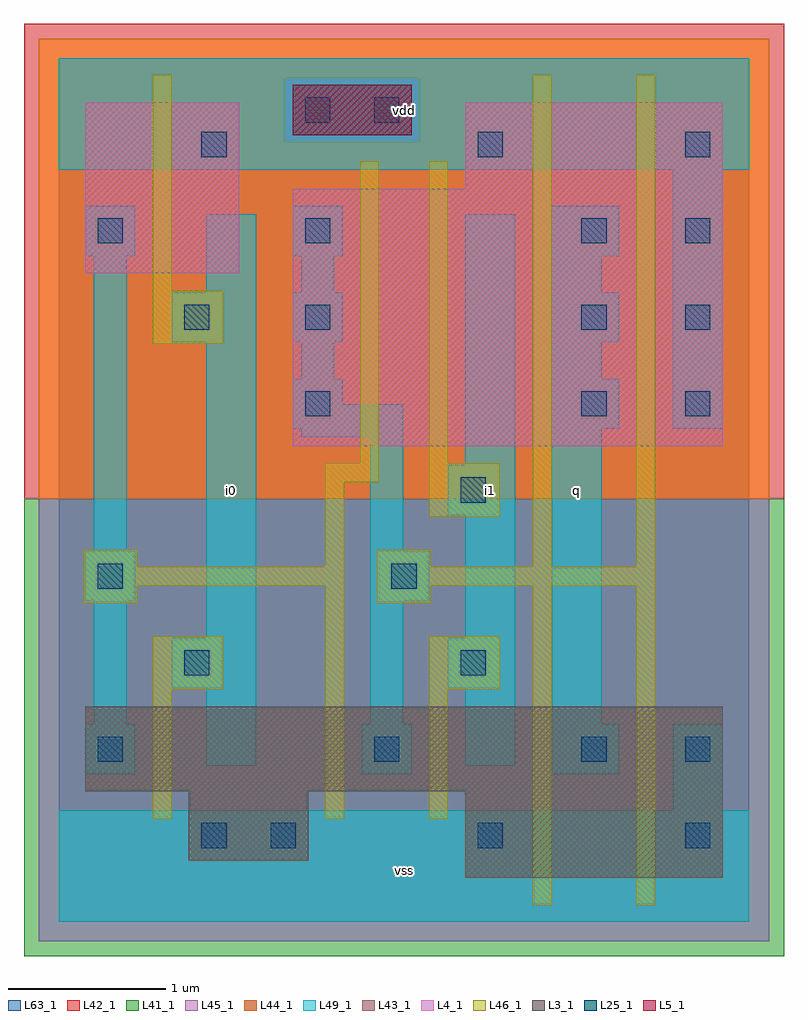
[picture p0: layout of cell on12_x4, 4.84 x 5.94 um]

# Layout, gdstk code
import gdstk
lib = gdstk.Library(unit=1e-6, precision=1e-09)
def R(c, l, rs):  # rectangles x0, y0, x1, y1
    for r in rs: c.add(gdstk.rectangle(r[:2], r[2:], *l))
def A(c, l, x, y, w, h, nx, ny, dx, dy):  # array of equal rectangles
    R(c, l, [(x+i*dx, y+j*dy, x+i*dx+w, y+j*dy+h) for i in range(nx) for j in range(ny)])
L3_1 = (3, 1)
L4_1 = (4, 1)
L5_1 = (5, 1)
L25_1 = (25, 1)
L41_1 = (41, 1)
L42_1 = (42, 1)
L43_1 = (43, 1)
L44_1 = (44, 1)
L45_1 = (45, 1)
L46_1 = (46, 1)
L49_1 = (49, 1)
L63_1 = (63, 1)

on12_x4 = lib.new_cell('on12_x4')
R(on12_x4, L3_1, [(2.59,0.28,4.23,0.83), (0.83,0.39,1.59,0.83), (0.17,0.83,4.23,1.37)])
R(on12_x4, L4_1, [(1.49,3.03,4.23,4.67), (0.17,4.13,1.15,5.22), (2.59,4.67,4.23,5.22)])
R(on12_x4, L5_1, [(1.49,5.01,2.25,5.33)])
A(on12_x4, L25_1, 1.35, 0.47, 0.16, 0.16, 3, 1, 1.32, 0)
A(on12_x4, L25_1, 1.57, 3.22, 0.16, 0.16, 1, 3, 0, 0.55)
A(on12_x4, L25_1, 3.33, 3.22, 0.16, 0.16, 1, 3, 0, 0.55)
A(on12_x4, L25_1, 3.99, 3.22, 0.16, 0.16, 1, 4, 0, 0.55)
R(on12_x4, L25_1, [(0.91,0.47,1.07,0.63), (0.25,1.02,0.41,1.18), (2.01,1.02,2.17,1.18), (3.33,1.02,3.49,1.18), (3.99,1.02,4.15,1.18), (0.8,1.57,0.96,1.73), (2.56,1.57,2.72,1.73), (0.25,2.12,0.41,2.28), (2.12,2.12,2.28,2.28), (2.56,2.67,2.72,2.83), (0.8,3.77,0.96,3.93), (0.25,4.32,0.41,4.48), (0.91,4.87,1.07,5.03), (2.67,4.87,2.83,5.03), (1.57,5.09,1.73,5.25), (2.01,5.09,2.17,5.25)])
R(on12_x4, L41_1, [(-0.22,-0.22,4.62,2.695)])
R(on12_x4, L42_1, [(-0.22,2.695,4.62,5.72)])
R(on12_x4, L43_1, [(2.59,0.28,4.23,0.83), (0.83,0.39,1.59,0.83), (0.17,0.83,4.23,1.37), (1.49,3.03,4.23,4.67), (0.17,4.13,1.15,5.22), (2.59,4.67,4.23,5.22), (1.49,5.01,2.25,5.33)])
R(on12_x4, L44_1, [(-0.125,2.695,4.525,4.965), (-0.125,4.965,1.445,5.375), (2.295,4.965,4.525,5.375), (-0.125,5.375,4.525,5.625)])
R(on12_x4, L45_1, [(-0.125,-0.125,4.525,2.695), (1.445,4.965,2.295,5.375)])
R(on12_x4, L46_1, [(3.02,0.105,3.14,2.14), (3.68,0.105,3.8,2.14), (0.6,0.655,0.72,1.48), (1.7,0.655,1.82,2.14), (2.36,0.655,2.48,1.48), (0.6,1.48,1.05,1.82), (2.36,1.48,2.81,1.82), (0.16,2.03,0.5,2.14), (2.03,2.03,2.37,2.14), (0.16,2.14,1.82,2.26), (2.03,2.14,3.8,2.26), (0.16,2.26,0.5,2.37), (1.7,2.26,1.82,2.8), (2.03,2.26,2.37,2.37), (3.02,2.26,3.14,5.395), (3.68,2.26,3.8,5.395), (2.36,2.58,2.81,2.92), (1.7,2.8,2.04,2.92), (1.92,2.92,2.04,4.845), (2.36,2.92,2.48,4.845), (0.6,3.68,1.05,4.02), (0.6,4.02,0.72,5.395)])
A(on12_x4, L49_1, 3.14, 3.14, 0.43, 0.32, 1, 3, 0, 0.55)
R(on12_x4, L49_1, [(0,0,4.4,0.71), (3.91,0.71,4.23,1.26), (0.17,0.94,0.49,1.26), (1.93,0.94,2.25,1.26), (3.14,0.94,3.57,1.26), (0.94,0.995,1.26,1.49), (2.59,0.995,2.91,1.49), (0.225,1.26,0.435,2.04), (1.985,1.26,2.195,2.04), (3.14,1.26,3.46,3.14), (0.72,1.49,1.26,1.81), (2.48,1.49,2.91,1.81), (0.94,1.81,1.26,3.69), (2.59,1.81,2.91,2.59), (0.17,2.04,0.49,2.36), (1.985,2.04,2.36,2.36), (0.225,2.36,0.435,4.24), (1.985,2.36,2.195,3.085), (2.48,2.59,2.91,2.91), (2.59,2.91,2.91,4.505), (1.545,3.085,2.195,3.14), (1.49,3.14,2.195,3.295), (3.91,3.14,4.23,4.79), (1.49,3.295,1.81,3.46), (1.545,3.46,1.755,3.69), (3.14,3.46,3.46,3.69), (0.72,3.69,1.26,4.01), (1.49,3.69,1.81,4.01), (0.94,4.01,1.26,4.505), (1.545,4.01,1.755,4.24), (3.14,4.01,3.46,4.24), (0.17,4.24,0.49,4.56), (1.49,4.24,1.81,4.56), (0,4.79,4.4,5.5)])
R(on12_x4, L63_1, [(0,0,4.4,5.5)])
on12_x4.add(gdstk.Label('i0', (1.1,2.75), layer=49, texttype=1))
on12_x4.add(gdstk.Label('i0', (1.1,2.75), layer=49, texttype=1))
on12_x4.add(gdstk.Label('vss', (2.2,0.33), layer=49, texttype=1))
on12_x4.add(gdstk.Label('vss', (2.2,0.33), layer=49, texttype=1))
on12_x4.add(gdstk.Label('i1', (2.75,2.75), layer=49, texttype=1))
on12_x4.add(gdstk.Label('q', (3.3,2.75), layer=49, texttype=1))
on12_x4.add(gdstk.Label('i1', (2.75,2.75), layer=49, texttype=1))
on12_x4.add(gdstk.Label('q', (3.3,2.75), layer=49, texttype=1))
on12_x4.add(gdstk.Label('vdd', (2.2,5.17), layer=49, texttype=1))
on12_x4.add(gdstk.Label('vdd', (2.2,5.17), layer=49, texttype=1))

lib.write_gds('on12_x4.gds')
